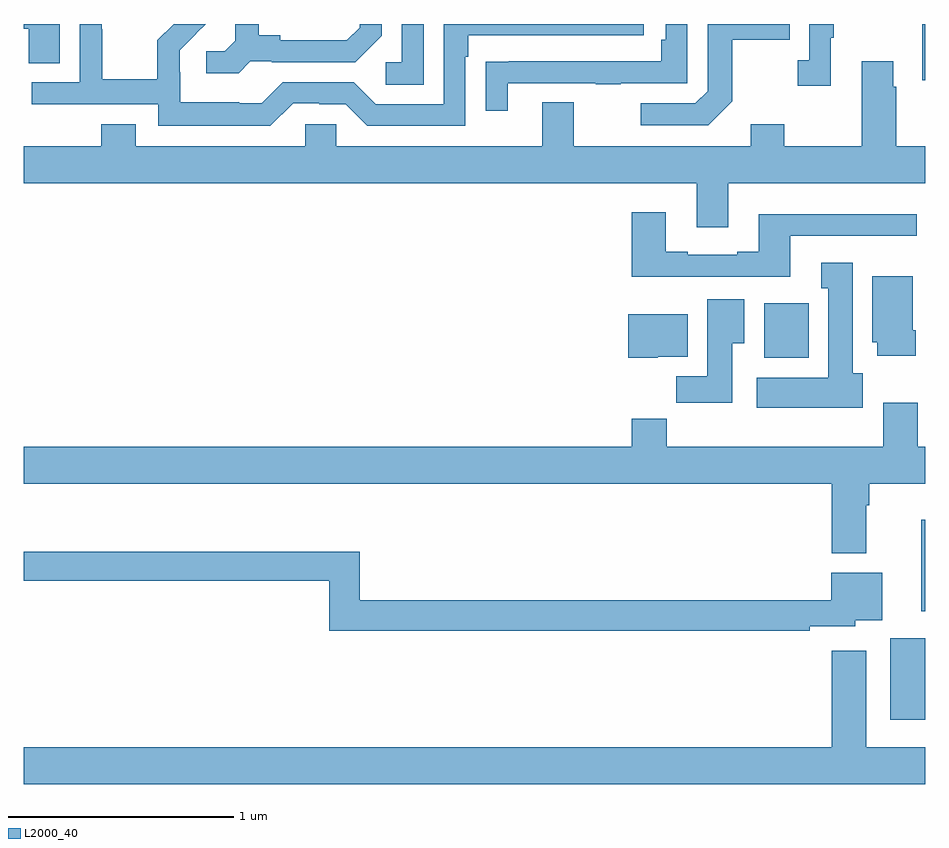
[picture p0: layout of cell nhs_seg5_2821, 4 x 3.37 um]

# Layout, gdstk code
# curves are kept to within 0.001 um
import gdstk
lib = gdstk.Library(unit=1e-6, precision=1e-09)
def R(c, l, rs):  # rectangles x0, y0, x1, y1
    for r in rs: c.add(gdstk.rectangle(r[:2], r[2:], *l))
def P(c, l, *ps):  # polygons
    for p in ps: c.add(gdstk.Polygon(p, *l))
L2000_40 = (2000, 40)

nhs_seg5_2821 = lib.new_cell('nhs_seg5_2821')
R(nhs_seg5_2821, L2000_40, [(278.843,855.714,279,856.075), (278.981,856.194,279,856.6), (278.285,857.318,278.482,857.56), (278.986,858.55,279,858.799)])
P(nhs_seg5_2821, L2000_40, [(278.581,858.737),(278.593,858.737),(278.593,858.799),(278.484,858.799),(278.484,858.638),(278.433,858.638),(278.433,858.525),(278.581,858.525)],
  [(277.147,858.537),(277.537,858.537),(277.537,858.532),(277.649,858.532),(277.649,858.537),(277.944,858.537),(277.944,858.799),(277.848,858.799),(277.848,858.73),(277.828,858.73),(277.828,858.633),(277.153,858.633),(277.153,858.632),(277.051,858.632),(277.051,858.414),(277.147,858.414)],
  [(276.195,858.447),(276.311,858.447),(276.311,858.444),(276.429,858.444),(276.525,858.348),(276.96,858.348),(276.96,858.653),(276.973,858.653),(276.973,858.75),(277.75,858.75),(277.75,858.799),(276.864,858.799),(276.864,858.444),(276.561,858.444),(276.465,858.54),(276.15,858.54),(276.057,858.447),(275.957,858.447),(275.957,858.451),(275.694,858.451),(275.694,858.585),(275.692,858.585),(275.692,858.682),(275.807,858.799),(275.665,858.799),(275.593,858.727),(275.593,858.553),(275.349,858.553),(275.349,858.776),(275.346,858.776),(275.346,858.799),(275.25,858.799),(275.25,858.54),(275.037,858.54),(275.037,858.444),(275.598,858.444),(275.598,858.347),(276.095,858.347)],
  [(276.006,858.633),(276.1,858.633),(276.1,858.63),(276.472,858.63),(276.588,858.746),(276.588,858.799),(276.491,858.799),(276.491,858.783),(276.434,858.726),(276.139,858.726),(276.139,858.749),(276.043,858.749),(276.043,858.799),(275.939,858.799),(275.939,858.725),(275.892,858.678),(275.811,858.678),(275.811,858.581),(275.954,858.581)],
  [(276.774,858.799),(276.678,858.799),(276.678,858.63),(276.606,858.63),(276.606,858.529),(276.774,858.529)],
  [(278.143,858.457),(278.143,858.73),(278.399,858.73),(278.399,858.799),(278.034,858.799),(278.034,858.501),(277.98,858.447),(277.737,858.447),(277.737,858.351),(278.037,858.351)],
  [(275.161,858.799),(275,858.799),(275,858.779),(275.023,858.779),(275.023,858.625),(275.161,858.625)],
  [(278.125,858.092),(279,858.092),(279,858.256),(278.87,858.256),(278.87,858.521),(278.857,858.521),(278.857,858.634),(278.717,858.634),(278.717,858.256),(278.373,858.256),(278.373,858.355),(278.225,858.355),(278.225,858.256),(277.441,858.256),(277.441,858.451),(277.301,858.451),(277.301,858.256),(276.387,858.256),(276.387,858.354),(276.249,858.354),(276.249,858.256),(275.497,858.256),(275.497,858.355),(275.345,858.355),(275.345,858.256),(275,858.256),(275,858.092),(277.985,858.092),(277.985,857.898),(278.125,857.898)],
  [(277.937,857.679),(278.401,857.679),(278.401,857.859),(278.962,857.859),(278.962,857.956),(278.261,857.956),(278.261,857.788),(278.165,857.788),(278.165,857.775),(277.945,857.775),(277.945,857.788),(277.849,857.788),(277.849,857.965),(277.697,857.965),(277.697,857.678),(277.937,857.678)],
  [(278.722,857.25),(278.677,857.25),(278.677,857.74),(278.537,857.74),(278.537,857.627),(278.57,857.627),(278.57,857.23),(278.253,857.23),(278.253,857.096),(278.722,857.096)],
  [(278.957,857.44),(278.944,857.44),(278.944,857.68),(278.765,857.68),(278.765,857.388),(278.786,857.388),(278.786,857.328),(278.957,857.328)],
  [(278.143,857.384),(278.197,857.384),(278.197,857.578),(278.033,857.578),(278.033,857.236),(277.894,857.236),(277.894,857.118),(278.143,857.118)],
  [(277.812,857.324),(277.945,857.324),(277.945,857.512),(277.682,857.512),(277.682,857.318),(277.812,857.318)],
  [(278.737,856.664),(278.75,856.664),(278.75,856.76),(279,856.76),(279,856.924),(278.966,856.924),(278.966,857.119),(278.813,857.119),(278.813,856.924),(277.853,856.924),(277.853,857.048),(277.697,857.048),(277.697,856.924),(275,856.924),(275,856.76),(278.585,856.76),(278.585,856.451),(278.737,856.451)],
  [(278.486,856.128),(278.688,856.128),(278.688,856.154),(278.809,856.154),(278.809,856.366),(278.582,856.366),(278.582,856.244),(276.491,856.244),(276.491,856.459),(275,856.459),(275,856.33),(276.355,856.33),(276.355,856.108),(278.486,856.108)],
  [(279,855.592),(278.737,855.592),(278.737,856.018),(278.585,856.018),(278.585,855.592),(275,855.592),(275,855.428),(279,855.428)])

lib.write_gds('nhs_seg5_2821.gds')
